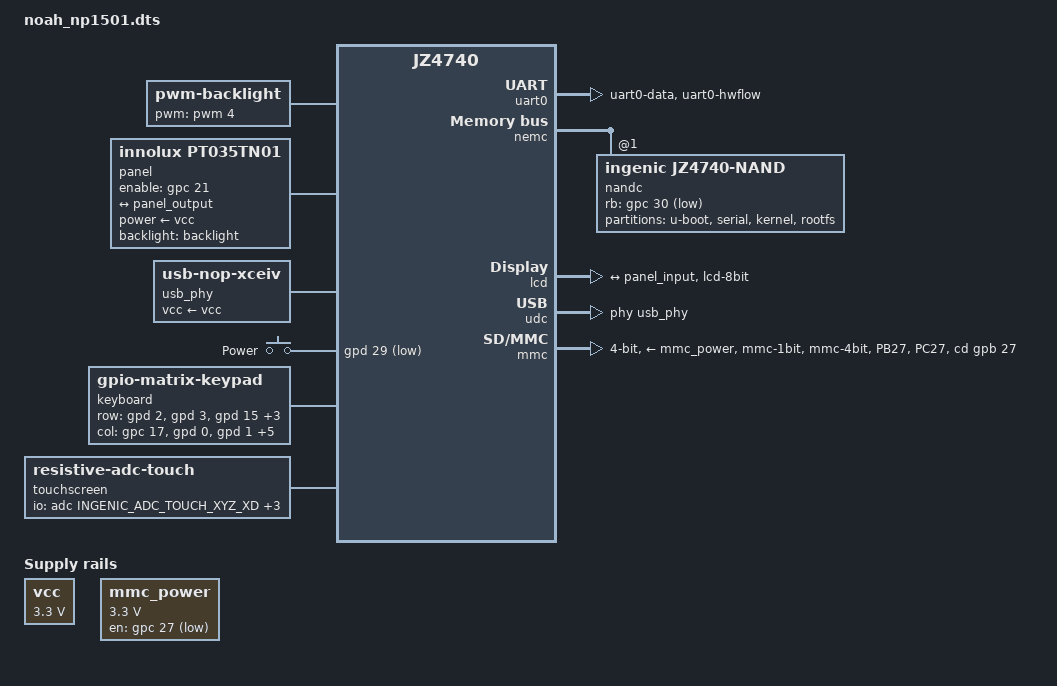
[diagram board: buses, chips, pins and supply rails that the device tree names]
// SPDX-License-Identifier: GPL-2.0
/dts-v1/;

#include "jz4740.dtsi"

#include <dt-bindings/gpio/gpio.h>
#include <dt-bindings/iio/adc/ingenic,adc.h>
#include <dt-bindings/clock/ingenic,tcu.h>
#include <dt-bindings/input/input.h>

/ {
	compatible = "noah,np1380", "ingenic,jz4740";

	chosen {
		stdout-path = &uart0;
	};

	vcc: regulator@0 {
		compatible = "regulator-fixed";
		regulator-name = "vcc";

		regulator-min-microvolt = <3300000>;
		regulator-max-microvolt = <3300000>;
		regulator-always-on;
	};

	mmc_power: regulator@1 {
		compatible = "regulator-fixed";
		regulator-name = "mmc_vcc";
		gpio = <&gpc 27 GPIO_ACTIVE_LOW>;

		regulator-min-microvolt = <3300000>;
		regulator-max-microvolt = <3300000>;
	};

	backlight: backlight {
		compatible = "pwm-backlight";
		pwms = <&pwm 4 40000 0>;
		pinctrl-names = "default";
		pinctrl-0 = <&pins_pwm4>;

		brightness-levels = <0 16 32 48 64 80 96 112 128
				     144 160 176 192 208 224 240 255>;
		default-brightness-level = <12>;
	};

	panel: panel {
		compatible = "innolux,pt035tn01";
		backlight = <&backlight>;
		power-supply = <&vcc>;
		enable-gpios = <&gpc 21 GPIO_ACTIVE_HIGH>;

		port {
			panel_input: endpoint {
				remote-endpoint = <&panel_output>;
			};
		};
	};

	usb_phy: usb-phy {
		compatible = "usb-nop-xceiv";
		#phy-cells = <0>;

		vcc-supply = <&vcc>;
	};

	/*amp_supply: regulator@2 {
		compatible = "regulator-fixed";
		regulator-name = "amp_supply";
		gpio = <&gpd 4 0>;
		enable-active-high;

		regulator-min-microvolt = <3300000>;
		regulator-max-microvolt = <3300000>;
	};

	amp: analog-amplifier {
		compatible = "simple-audio-amplifier";
		enable-gpios = <&gpb 29 GPIO_ACTIVE_HIGH>;
		VCC-supply = <&amp_supply>;
	};

	sound {
		compatible = "simple-audio-card";

		simple-audio-card,name = "QI LB60";
		simple-audio-card,format = "i2s";

		simple-audio-card,widgets =
			"Speaker", "Speaker",
			"Microphone", "Mic";
		simple-audio-card,routing =
			"MIC", "Mic",
			"Speaker", "OUTL",
			"Speaker", "OUTR",
			"INL", "LOUT",
			"INL", "ROUT";

		simple-audio-card,aux-devs = <&amp>;

		simple-audio-card,bitclock-master = <&dai_codec>;
		simple-audio-card,frame-master = <&dai_codec>;

		dai_cpu: simple-audio-card,cpu {
			sound-dai = <&aic>;
		};

		dai_codec: simple-audio-card,codec {
			sound-dai = <&codec>;
		};
	};*/

	keys {
		compatible = "gpio-keys";

		key {
			label = "Power";
			wakeup-source;
			linux,code = <KEY_POWER>;
			gpios = <&gpd 29 GPIO_ACTIVE_LOW>;
		};
	};

	keyboard {
		compatible = "gpio-matrix-keypad";

		col-scan-delay-us = <10000>;
		debounce-delay-ms = <100>;
		/* wakeup-source; */

		row-gpios = <&gpd 2 0
			     &gpd 3 0
			     &gpd 15 0
			     &gpd 17 0
			     &gpd 30 0
			     &gpd 31 0>;
		col-gpios = <&gpc 17 0
			     &gpd 0 0
			     &gpd 1 0
			     &gpd 4 0
			     &gpd 5 0
			     &gpd 6 0
			     &gpd 7 0
			     &gpd 14 0>;
		gpio-activelow;

		pinctrl-names = "default";
		pinctrl-0 = <&pins_keyboard>;

		linux,keymap = <MATRIX_KEY(0, 0, KEY_ESC)	/* top */
				MATRIX_KEY(0, 1, KEY_RIGHT)	/* top */
				MATRIX_KEY(0, 2, KEY_DOWN)	/* top */
				MATRIX_KEY(0, 7, KEY_ENTER)	/* top */

				MATRIX_KEY(1, 0, KEY_PAGEUP)	/* top */
				MATRIX_KEY(1, 1, KEY_LEFT)	/* top */
				MATRIX_KEY(1, 2, KEY_UP)	/* top */
				MATRIX_KEY(1, 3, KEY_W)
				MATRIX_KEY(1, 4, KEY_S)
				MATRIX_KEY(1, 5, KEY_A)
				MATRIX_KEY(1, 6, KEY_Q)
				MATRIX_KEY(1, 7, KEY_PAGEDOWN)	/* top */

				MATRIX_KEY(2, 0, KEY_CONTEXT_MENU)
				MATRIX_KEY(2, 1, KEY_LEFTSHIFT)
				MATRIX_KEY(2, 2, KEY_LEFTCTRL)
				MATRIX_KEY(2, 3, KEY_DELETE)
				MATRIX_KEY(2, 4, KEY_CAPSLOCK)
				MATRIX_KEY(2, 5, KEY_LEFTALT)
				MATRIX_KEY(2, 6, KEY_BACKSPACE)
				MATRIX_KEY(2, 7, KEY_SPACE)

				MATRIX_KEY(3, 0, KEY_C)
				MATRIX_KEY(3, 1, KEY_X)
				MATRIX_KEY(3, 2, KEY_V)
				MATRIX_KEY(3, 3, KEY_M)
				MATRIX_KEY(3, 4, KEY_N)
				MATRIX_KEY(3, 5, KEY_APOSTROPHE)
				MATRIX_KEY(3, 6, KEY_TAB)
				MATRIX_KEY(3, 7, KEY_B)

				MATRIX_KEY(4, 0, KEY_D)
				MATRIX_KEY(4, 1, KEY_Z)
				MATRIX_KEY(4, 2, KEY_F)
				MATRIX_KEY(4, 3, KEY_J)
				MATRIX_KEY(4, 4, KEY_H)
				MATRIX_KEY(4, 5, KEY_K)
				MATRIX_KEY(4, 6, KEY_L)
				MATRIX_KEY(4, 7, KEY_G)

				MATRIX_KEY(5, 0, KEY_R)
				MATRIX_KEY(5, 1, KEY_E)
				MATRIX_KEY(5, 2, KEY_T)
				MATRIX_KEY(5, 3, KEY_I)
				MATRIX_KEY(5, 4, KEY_U)
				MATRIX_KEY(5, 5, KEY_O)
				MATRIX_KEY(5, 6, KEY_P)
				MATRIX_KEY(5, 7, KEY_Y)
				>;
	};

	touchscreen {
		compatible = "resistive-adc-touch";
		touchscreen-min-pressure = <50000>;
		io-channels = <&adc INGENIC_ADC_TOUCH_XYZ_XD>,
			      <&adc INGENIC_ADC_TOUCH_XYZ_YD>,
			      <&adc INGENIC_ADC_TOUCH_XYZ_Z1>,
			      <&adc INGENIC_ADC_TOUCH_XYZ_Z2>;
		io-channel-names = "x", "y", "z1", "z2";
		touchscreen-x-plate-ohms = <1000>;
	};

	/*usb_charger: charger {
		compatible = "gpio-charger";
		charger-type = "usb-sdp";
		gpios = <&gpd 28 GPIO_ACTIVE_LOW>;
		status-gpios = <&gpc 27 GPIO_ACTIVE_LOW>;
	};

	simple_battery: battery {
		compatible = "simple-battery";
		voltage-min-design-microvolt = <3600000>;
		voltage-max-design-microvolt = <4200000>;
	};

	pmu {
		compatible = "ingenic,jz4740-battery";
		io-channels = <&adc INGENIC_ADC_BATTERY>;
		io-channel-names = "battery";
		power-supplies = <&usb_charger>;
		monitored-battery = <&simple_battery>;
	};*/
};

&ext {
	clock-frequency = <12000000>;
};

&rtc_dev {
	system-power-controller;
};

&uart0 {
	pinctrl-names = "default";
	pinctrl-0 = <&pins_uart0>;
};

&uart1 {
	status = "disabled";
};

&nemc {
	nandc: nand-controller@1 {
		compatible = "ingenic,jz4740-nand";
		reg = <1 0 0x4000000>;

		#address-cells = <1>;
		#size-cells = <0>;

		ingenic,bch-controller = <&ecc>;

		pinctrl-names = "default";
		pinctrl-0 = <&pins_nemc>;

		rb-gpios = <&gpc 30 GPIO_ACTIVE_LOW>;

		nand@1 {
			reg = <1>;

			nand-ecc-step-size = <512>;
			nand-ecc-strength = <4>;
			nand-ecc-mode = "hw";
			nand-is-boot-medium;
			nand-on-flash-bbt;

			partitions {
				compatible = "fixed-partitions";
				#address-cells = <1>;
				#size-cells = <1>;

				partition@0 {
					label = "u-boot";
					reg = <0x0 0x200000>;
				};

				partition@200000 {
					label = "serial";
					reg = <0x200000 0x200000>;
				};

				partition@400000 {
					label = "kernel";
					reg = <0x400000 0x400000>;
				};

				partition@800000 {
					label = "rootfs";
					reg = <0x800000 0x0>;
				};
			};
		};
	};
};

&lcd {
	pinctrl-names = "default";
	pinctrl-0 = <&pins_lcd>;

	port {
		panel_output: endpoint {
			remote-endpoint = <&panel_input>;
		};
	};
};

&udc {
	phys = <&usb_phy>;
};

&pinctrl {
	pins_lcd: lcd {
		function = "lcd";
		groups = "lcd-8bit";
	};

	pins_pwm4: pwm4 {
		function = "pwm4";
		groups = "pwm4";
	};

	pins_nemc: nemc {
		function = "nand";
		groups = "nand-cs1";
	};

	pins_uart0: uart0 {
		function = "uart0";
		groups = "uart0-data", "uart0-hwflow";
		bias-disable;
	};

	pins_mmc: mmc {
		mmc {
			function = "mmc";
			groups = "mmc-1bit", "mmc-4bit";
			bias-disable;
		};

		mmc-gpios {
			pins = "PB27", "PC27";
			bias-disable;
		};
	};

	pins_keyboard: keyboard {
		pins = "PC17", "PD0", "PD1", "PD2", "PD3", "PD4", "PD5", "PD6",
		       "PD7", "PD14", "PD15", "PD17", "PD30", "PD31";
		bias-pull-up;
	};
};

&mmc {
	bus-width = <4>;
	max-frequency = <20000000>;
	cd-gpios = <&gpb 27 GPIO_ACTIVE_HIGH>;
	vmmc-supply = <&mmc_power>;

	pinctrl-names = "default";
	pinctrl-0 = <&pins_mmc>;
};

&tcu {
	/* 750 kHz for the system timer and clocksource */
	assigned-clocks = <&tcu TCU_CLK_TIMER0>, <&tcu TCU_CLK_TIMER1>;
	assigned-clock-rates = <750000>, <750000>;
};
